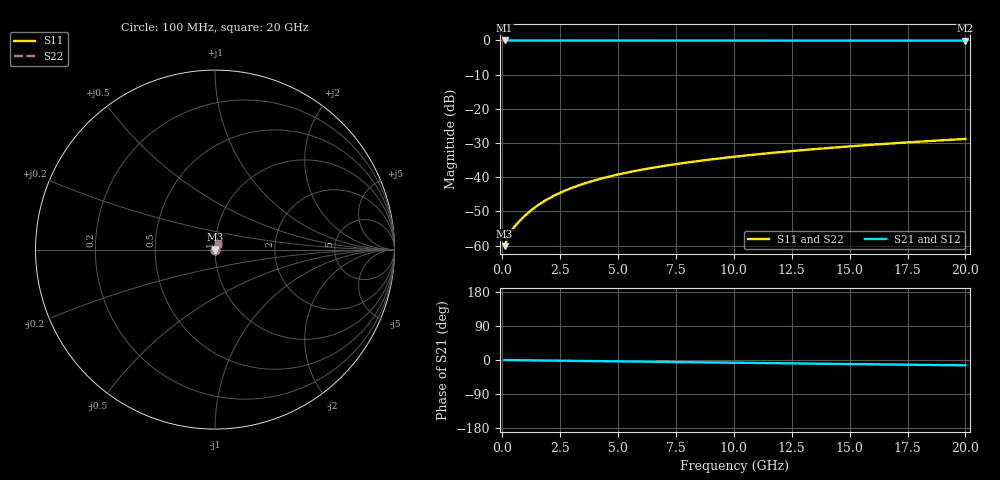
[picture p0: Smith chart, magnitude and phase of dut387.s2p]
! Touchstone file exported from HFSS 2026.1.0
!  File:  C:/ffzhzh/LocalFiles/Ansys_Project_Files/temp_train_BSMRDL_387_1783012089_53980.aedt
!  Generated:  01:09:23 AM Jul  3, 2026
!  Design:  BSMRDL
!  Project:  temp_train_BSMRDL_387_1783012089_53980
! Variables:
!  h_bsmrdl = 4.34um
!  h_ox = 20um
!  h_rdl = 5um
!  h_sub = 80um
!  h_tmrdl = 5um
!  h_tsv = 80um
!  h_via = 3um
!  l_bsmrdl = 231.69um
!  l_sub = 631.69um
!  l_tmrdl = 200um
!  m_sub = 200um
!  pitch = 36.21um
!  r_tsv = 6um
!  s_tmrdl = 10um
!  w_bsmrdl = 28.79um
!  w_sub = 500um
!  w_tmrdl = 12um
!  x_tsv_center1 = 206um
!  x_tsv_center2 = 466.48um
!  x_tsv_center3 = 678.48um
!  x_tsv_center4 = 938.96um
!  x_tsv_center5 = 1150.96um
!  x_tsv_center6 = 1411.44um
# GHz S MA R 50.000000
! Terminal data exported
! Port[1] = BSM_RDL1_1_T1
! Port[2] = BSM_RDL1_1_T2
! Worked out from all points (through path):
!   200 points, 100 MHz to 20 GHz, reference 50 ohm
!   highest |S21| = -0.01 dB at 100 MHz (marker M1); lowest = -0.1 dB at 20 GHz (marker M2)
!   group delay of S21, straight-line fit = 1.95 ps
!   lowest |S11| = -60.1 dB at 100 MHz (marker M3), VSWR 1.00, Z = 50.1 + j0.0399 ohm
!   |S11| at or under -10 dB: start of sweep to end of sweep
!   |S22| runs from -60.1 to -28.8 dB; largest |S21 - S12| = 6.5e-15
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0.1  0.0009834 23.9  0.9991 -0.1  0.9991 -0.1  0.0009834 23.9
! Gamma 0 0 0 0
! Port Impedance 50 0 50 0
0.2  0.001242 34.4  0.999 -0.2  0.999 -0.2  0.001242 34.4
0.3  0.001469 39.7  0.9989 -0.2  0.9989 -0.2  0.001469 39.7
0.4  0.001664 43.6  0.9988 -0.3  0.9988 -0.3  0.001664 43.6
0.5  0.001847 47.1  0.9987 -0.4  0.9987 -0.4  0.001847 47.1
0.7  0.002212 53.0  0.9987 -0.5  0.9987 -0.5  0.002212 53.0
0.9  0.002593 57.7  0.9986 -0.7  0.9986 -0.7  0.002593 57.7
1.3  0.003401 63.9  0.9985 -1.0  0.9985 -1.0  0.003401 63.9
1.8  0.004454 68.1  0.9984 -1.3  0.9984 -1.3  0.004454 68.1
2.3  0.005518 70.3  0.9983 -1.7  0.9983 -1.7  0.005518 70.3
2.9  0.006782 71.6  0.9981 -2.1  0.9981 -2.1  0.006782 71.6
3.5  0.00802 72.2  0.9979 -2.6  0.9979 -2.6  0.00802 72.2
4.2  0.009425 72.5  0.9976 -3.1  0.9976 -3.1  0.009425 72.5
5  0.01098 72.5  0.9973 -3.6  0.9973 -3.6  0.01098 72.5
5.9  0.01268 72.3  0.997 -4.3  0.997 -4.3  0.01267 72.3
6.8  0.01432 72.0  0.9967 -4.9  0.9967 -4.9  0.01432 72.1
8.3  0.01699 71.6  0.9962 -6.0  0.9962 -6.0  0.01699 71.6
10.1  0.0201 70.9  0.9957 -7.2  0.9957 -7.2  0.0201 71.0
11.7  0.02281 70.3  0.9953 -8.3  0.9953 -8.3  0.02281 70.3
13.4  0.02565 69.6  0.9948 -9.5  0.9948 -9.5  0.02564 69.6
16.7  0.03105 68.1  0.9941 -11.8  0.9941 -11.8  0.03105 68.1
20  0.03634 66.4  0.9933 -14.1  0.9933 -14.1  0.03634 66.5
